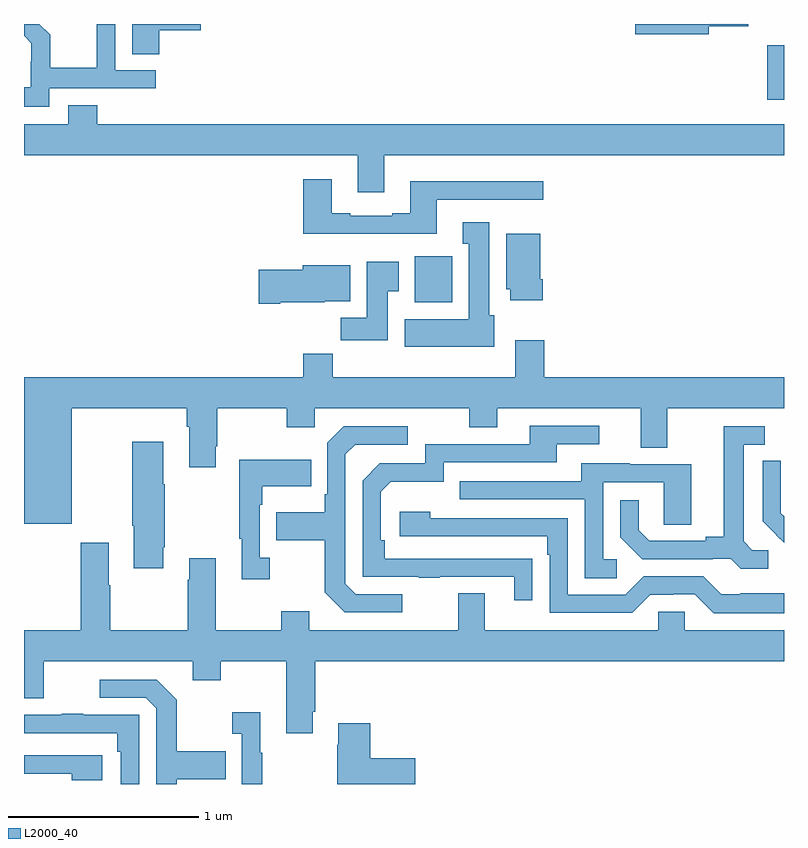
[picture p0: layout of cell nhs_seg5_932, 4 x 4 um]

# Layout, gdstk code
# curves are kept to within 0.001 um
import gdstk
lib = gdstk.Library(unit=1e-6, precision=1e-09)
def R(c, l, rs):  # rectangles x0, y0, x1, y1
    for r in rs: c.add(gdstk.rectangle(r[:2], r[2:], *l))
def P(c, l, *ps):  # polygons
    for p in ps: c.add(gdstk.Polygon(p, *l))
L2000_40 = (2000, 40)

nhs_seg5_932 = lib.new_cell('nhs_seg5_932')
R(nhs_seg5_932, L2000_40, [(173.057,841.334,173.254,841.576), (174.911,842.4,175,842.686)])
P(nhs_seg5_932, L2000_40, [(171.132,842.46),(171.694,842.46),(171.694,842.556),(171.48,842.556),(171.48,842.799),(171.384,842.799),(171.384,842.792),(171.382,842.792),(171.382,842.569),(171.137,842.569),(171.137,842.743),(171.081,842.799),(171,842.799),(171,842.736),(171.038,842.698),(171.038,842.601),(171.036,842.601),(171.036,842.467),(171,842.467),(171,842.363),(171.132,842.363)],
  [(174.604,842.788),(174.812,842.788),(174.812,842.799),(174.216,842.799),(174.216,842.746),(174.604,842.746)],
  [(171.713,842.765),(171.931,842.765),(171.931,842.799),(171.569,842.799),(171.569,842.641),(171.713,842.641)],
  [(172.897,842.108),(175,842.108),(175,842.272),(171.386,842.272),(171.386,842.371),(171.233,842.371),(171.233,842.272),(171,842.272),(171,842.108),(172.757,842.108),(172.757,841.914),(172.897,841.914)],
  [(173.173,841.875),(173.734,841.875),(173.734,841.972),(173.033,841.972),(173.033,841.804),(172.937,841.804),(172.937,841.791),(172.717,841.791),(172.717,841.804),(172.621,841.804),(172.621,841.981),(172.469,841.981),(172.469,841.694),(173.173,841.694)],
  [(173.476,841.266),(173.449,841.266),(173.449,841.756),(173.309,841.756),(173.309,841.643),(173.342,841.643),(173.342,841.246),(173.003,841.246),(173.003,841.1),(173.476,841.1)],
  [(173.729,841.456),(173.716,841.456),(173.716,841.696),(173.537,841.696),(173.537,841.404),(173.558,841.404),(173.558,841.344),(173.729,841.344)],
  [(172.915,841.393),(172.972,841.393),(172.972,841.549),(172.805,841.549),(172.805,841.252),(172.666,841.252),(172.666,841.134),(172.915,841.134)],
  [(172.348,841.334),(172.584,841.334),(172.584,841.34),(172.717,841.34),(172.717,841.528),(172.466,841.528),(172.466,841.505),(172.236,841.505),(172.236,841.327),(172.348,841.327)],
  [(171.25,840.776),(171.857,840.776),(171.857,840.68),(171.869,840.68),(171.869,840.465),(172.009,840.465),(172.009,840.577),(172.017,840.577),(172.017,840.776),(172.384,840.776),(172.384,840.677),(172.53,840.677),(172.53,840.776),(173.344,840.776),(173.344,840.677),(173.491,840.677),(173.491,840.776),(174.245,840.776),(174.245,840.568),(174.385,840.568),(174.385,840.776),(175,840.776),(175,840.94),(173.738,840.94),(173.738,841.135),(173.585,841.135),(173.585,840.94),(172.625,840.94),(172.625,841.064),(172.469,841.064),(172.469,840.94),(171,840.94),(171,840.17),(171.25,840.17)],
  [(173.675,839.984),(172.898,839.985),(172.898,840.082),(172.878,840.082),(172.878,840.336),(172.931,840.389),(173.208,840.389),(173.208,840.492),(173.803,840.492),(173.803,840.588),(174.028,840.588),(174.028,840.684),(173.663,840.684),(173.663,840.588),(173.112,840.588),(173.112,840.486),(172.872,840.486),(172.782,840.396),(172.782,839.889),(173.077,839.889),(173.077,839.884),(173.189,839.884),(173.189,839.889),(173.579,839.889),(173.579,839.766),(173.675,839.766)],
  [(174.916,840.03),(174.834,840.03),(174.787,840.077),(174.787,840.585),(174.898,840.585),(174.898,840.681),(174.683,840.681),(174.683,840.101),(174.587,840.101),(174.587,840.078),(174.292,840.078),(174.235,840.135),(174.235,840.292),(174.138,840.292),(174.138,840.098),(174.254,839.982),(174.626,839.982),(174.626,839.985),(174.72,839.985),(174.772,839.933),(174.916,839.933)],
  [(172.99,839.799),(172.746,839.799),(172.692,839.853),(172.692,840.534),(172.743,840.585),(173.02,840.585),(173.02,840.681),(172.683,840.681),(172.596,840.594),(172.596,840.325),(172.584,840.325),(172.584,840.229),(172.327,840.229),(172.327,840.082),(172.584,840.082),(172.584,839.809),(172.689,839.703),(172.99,839.703)],
  [(171.733,840.046),(171.741,840.046),(171.741,840.377),(171.733,840.377),(171.733,840.601),(171.571,840.601),(171.571,840.157),(171.578,840.157),(171.578,839.934),(171.733,839.934)],
  [(172.294,839.99),(172.242,839.99),(172.242,840.269),(172.255,840.269),(172.255,840.365),(172.511,840.365),(172.511,840.505),(172.134,840.505),(172.134,840.089),(172.145,840.089),(172.145,839.877),(172.294,839.877)],
  [(175,840.207),(174.983,840.224),(174.983,840.346),(174.984,840.346),(174.984,840.5),(174.888,840.5),(174.888,840.182),(174.961,840.109),(174.96,840.108),(175,840.068)],
  [(174.121,839.982),(174.048,839.982),(174.048,840.387),(174.366,840.387),(174.366,840.163),(174.511,840.163),(174.511,840.483),(174.187,840.483),(174.187,840.487),(173.933,840.487),(173.933,840.393),(173.293,840.393),(173.293,840.297),(173.952,840.297),(173.952,839.881),(174.121,839.881)],
  [(175,839.803),(174.769,839.803),(174.769,839.799),(174.669,839.799),(174.576,839.892),(174.261,839.892),(174.165,839.796),(173.862,839.796),(173.862,840.198),(173.138,840.198),(173.138,840.232),(172.977,840.232),(172.977,840.102),(173.753,840.102),(173.753,840.005),(173.766,840.005),(173.766,839.7),(174.201,839.7),(174.297,839.796),(174.416,839.796),(174.416,839.799),(174.531,839.799),(174.631,839.699),(175,839.699)],
  [(172.519,839.179),(172.532,839.179),(172.532,839.444),(175,839.444),(175,839.608),(174.477,839.608),(174.477,839.706),(174.339,839.706),(174.339,839.608),(173.425,839.608),(173.425,839.803),(173.285,839.803),(173.285,839.608),(172.501,839.608),(172.501,839.707),(172.354,839.707),(172.354,839.608),(172.009,839.608),(172.009,839.986),(171.869,839.986),(171.869,839.873),(171.862,839.873),(171.862,839.608),(171.453,839.608),(171.453,839.846),(171.445,839.846),(171.445,840.07),(171.298,840.07),(171.298,839.608),(171,839.608),(171,839.25),(171.103,839.25),(171.103,839.444),(171.887,839.444),(171.887,839.345),(172.035,839.345),(172.035,839.444),(172.379,839.444),(172.379,839.067),(172.519,839.067)],
  [(171.805,838.823),(172.061,838.823),(172.061,838.971),(171.805,838.971),(171.805,839.243),(171.699,839.349),(171.399,839.349),(171.399,839.253),(171.642,839.253),(171.696,839.199),(171.696,838.799),(171.805,838.799)],
  [(172.255,838.963),(172.243,838.963),(172.243,839.176),(172.095,839.176),(172.095,839.063),(172.146,839.063),(172.146,838.799),(172.255,838.799)],
  [(171.606,839.163),(171.311,839.163),(171.311,839.168),(171.199,839.168),(171.199,839.163),(171,839.163),(171,839.067),(171.49,839.067),(171.49,838.97),(171.51,838.97),(171.51,838.799),(171.606,838.799)],
  [(173.059,838.934),(172.823,838.934),(172.823,839.119),(172.655,839.119),(172.655,839.006),(172.648,839.006),(172.648,838.799),(173.059,838.799)],
  [(171.412,838.95),(171,838.95),(171,838.854),(171.251,838.854),(171.251,838.82),(171.412,838.82)])

lib.write_gds('nhs_seg5_932.gds')
